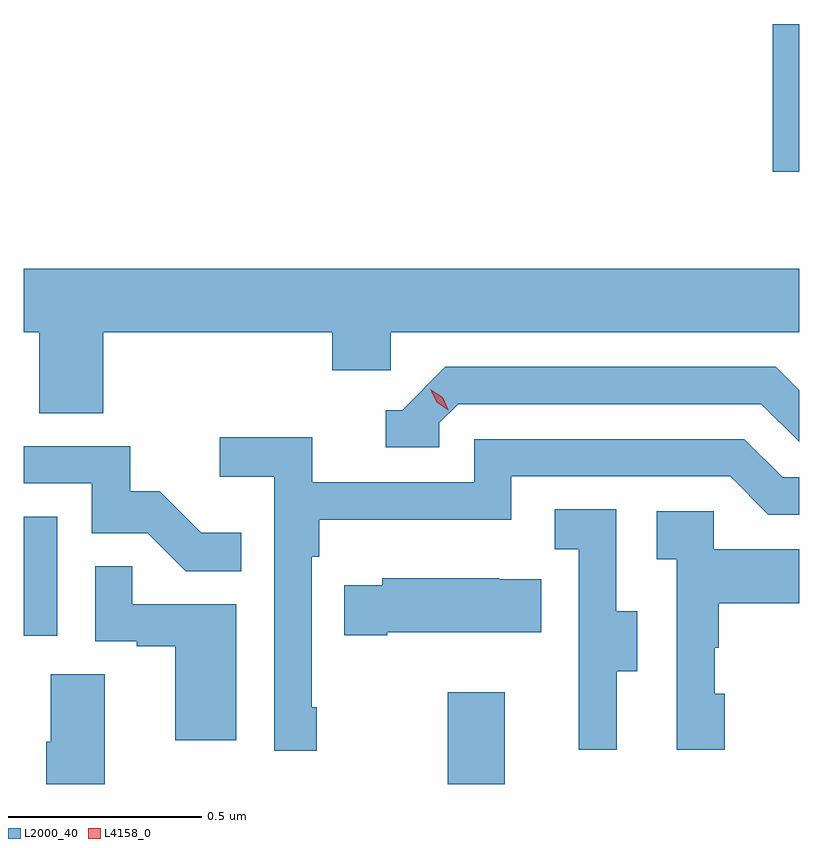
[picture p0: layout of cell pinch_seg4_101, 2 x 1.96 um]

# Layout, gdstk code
import gdstk
lib = gdstk.Library(unit=1e-6, precision=1e-09)
def R(c, l, rs):  # rectangles x0, y0, x1, y1
    for r in rs: c.add(gdstk.rectangle(r[:2], r[2:], *l))
def P(c, l, *ps):  # polygons
    for p in ps: c.add(gdstk.Polygon(p, *l))
L2000_40 = (2000, 40)
L4158_0 = (4158, 0)

pinch_seg4_101 = lib.new_cell('pinch_seg4_101')
R(pinch_seg4_101, L2000_40, [(1077.802,808.975,1077.949,809.212), (1076.708,809.358,1076.794,809.665), (1078.64,810.555,1078.708,810.936)])
P(pinch_seg4_101, L2000_40, [(1076.912,810.14),(1077.503,810.14),(1077.503,810.042),(1077.654,810.042),(1077.654,810.14),(1078.708,810.14),(1078.708,810.304),(1076.708,810.304),(1076.708,810.14),(1076.747,810.14),(1076.747,809.932),(1076.912,809.932)],
  [(1077.78,809.907),(1077.828,809.955),(1078.611,809.955),(1078.708,809.858),(1078.708,809.991),(1078.648,810.051),(1077.795,810.051),(1077.684,809.94),(1077.641,809.94),(1077.641,809.844),(1077.78,809.844)],
  [(1077.463,809.173),(1077.45,809.173),(1077.45,809.561),(1077.47,809.561),(1077.47,809.657),(1077.966,809.657),(1077.966,809.769),(1078.53,809.769),(1078.629,809.67),(1078.708,809.67),(1078.708,809.766),(1078.666,809.766),(1078.567,809.865),(1077.87,809.865),(1077.87,809.754),(1077.452,809.754),(1077.452,809.87),(1077.213,809.87),(1077.213,809.768),(1077.354,809.768),(1077.354,809.061),(1077.463,809.061)],
  [(1077.269,809.623),(1077.165,809.623),(1077.058,809.73),(1076.982,809.73),(1076.982,809.847),(1076.708,809.847),(1076.708,809.751),(1076.883,809.751),(1076.883,809.622),(1077.027,809.622),(1077.125,809.524),(1077.269,809.524)],
  [(1078.237,809.266),(1078.291,809.266),(1078.291,809.421),(1078.236,809.421),(1078.236,809.684),(1078.077,809.684),(1078.077,809.581),(1078.14,809.581),(1078.14,809.277),(1078.139,809.277),(1078.139,809.064),(1078.237,809.064)],
  [(1078.516,809.208),(1078.491,809.208),(1078.491,809.327),(1078.501,809.327),(1078.501,809.441),(1078.708,809.441),(1078.708,809.581),(1078.488,809.581),(1078.488,809.679),(1078.341,809.679),(1078.341,809.555),(1078.392,809.555),(1078.392,809.064),(1078.516,809.064)],
  [(1077.256,809.439),(1076.987,809.439),(1076.987,809.537),(1076.892,809.537),(1076.892,809.343),(1076.999,809.343),(1076.999,809.331),(1077.098,809.331),(1077.098,809.088),(1077.256,809.088)],
  [(1077.646,809.366),(1078.043,809.366),(1078.043,809.503),(1077.935,809.503),(1077.935,809.506),(1077.633,809.506),(1077.633,809.488),(1077.535,809.488),(1077.535,809.359),(1077.646,809.359)],
  [(1076.917,809.258),(1076.777,809.258),(1076.777,809.084),(1076.765,809.084),(1076.765,808.975),(1076.917,808.975)])
P(pinch_seg4_101, L4158_0, [(1077.803,809.94),(1077.773,809.96),(1077.757,809.993),(1077.757,809.993),(1077.757,809.993),(1077.788,809.973),(1077.803,809.941),(1077.803,809.94)])

lib.write_gds('pinch_seg4_101.gds')
